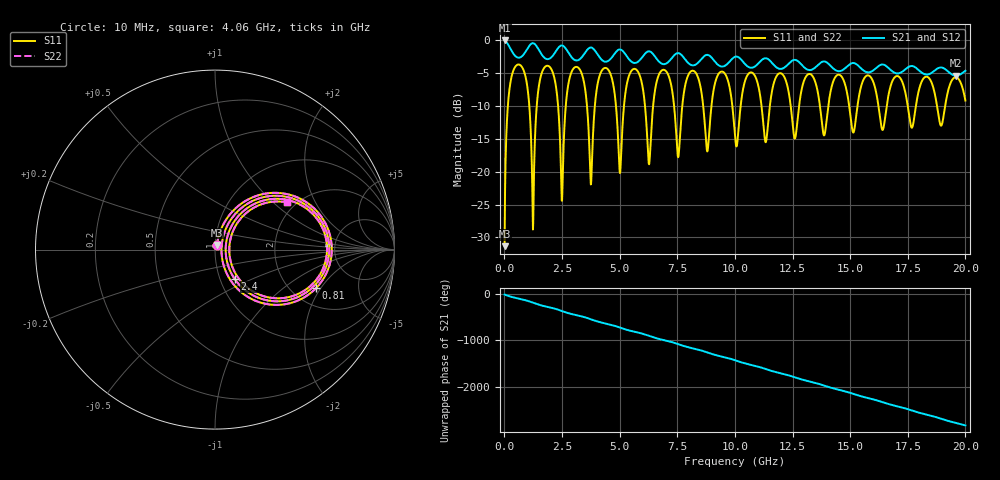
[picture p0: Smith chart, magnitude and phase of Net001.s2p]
! Touchstone generated by fitter/viewer
# HZ S  RI R 5.000000e+001
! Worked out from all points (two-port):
!   2000 points, 10 MHz to 20 GHz, reference 50 ohm
!   highest |S21| = -0.08 dB at 10 MHz (marker M1); lowest = -5.4 dB at 19.59 GHz (marker M2)
!   |S21| within 3 dB of the highest: start of sweep to 3.071 GHz; 3.196 GHz to 4.239 GHz (1.044 GHz wide, 28.1 % of centre)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
!   lowest |S11| = -31.3 dB at 10 MHz (marker M3), VSWR 1.06, Z = 50.9 + j2.58 ohm
!   |S11| at or under -10 dB: 8.624 GHz to 8.984 GHz (359.8 MHz wide, 4.09 % of centre); 9.889 GHz to 10.25 GHz (361.8 MHz wide, 3.59 % of centre); 13.69 GHz to 14.05 GHz (363.3 MHz wide, 2.62 % of centre)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
!   |S22| runs from -31.3 to -3.7 dB; largest |S21 - S12| = 0
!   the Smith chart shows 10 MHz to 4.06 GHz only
!   S11 on the Smith chart (normalised r, x): 10 MHz: 1.02, +0.05; 810 MHz: 2.68, -1.81; 2.4 GHz: 1.17, -0.40; 4.06 GHz: 1.79, +1.22
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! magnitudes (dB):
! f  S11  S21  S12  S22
! 10 MHz  -31.3  -0.1  -0.1  -31.3
! 250 MHz  -6.7  -1.3  -1.3  -6.7
! 810 MHz  -4.4  -2.3  -2.3  -4.4
! 1.23 GHz  -27.2  -0.5  -0.5  -27.2
! 1.76 GHz  -4.1  -2.8  -2.8  -4.1
! 2.4 GHz  -14.1  -1.0  -1.0  -14.1
! 3.35 GHz  -5.1  -2.7  -2.7  -5.1
! 3.75 GHz  -22.0  -1.1  -1.1  -22.0
! 4.06 GHz  -6.4  -2.3  -2.3  -6.4
! 5.02 GHz  -20.2  -1.4  -1.4  -20.2
! 5.47 GHz  -4.9  -3.2  -3.2  -4.9
! 6.28 GHz  -18.9  -1.7  -1.7  -18.9
! 6.68 GHz  -5.5  -3.2  -3.2  -5.5
! 7.53 GHz  -17.8  -2.0  -2.0  -17.8
! 8.15 GHz  -4.7  -3.9  -3.9  -4.7
! 10.01 GHz  -14.8  -2.6  -2.6  -14.8
! 10.63 GHz  -5.0  -4.2  -4.2  -5.0
! 13.34 GHz  -5.4  -4.5  -4.5  -5.4
! 13.87 GHz  -14.5  -3.3  -3.3  -14.5
! 16.67 GHz  -8.3  -4.3  -4.3  -8.3
! 19.59 GHz  -5.7  -5.4  -5.4  -5.7
! 20 GHz  -9.2  -4.7  -4.7  -9.2
